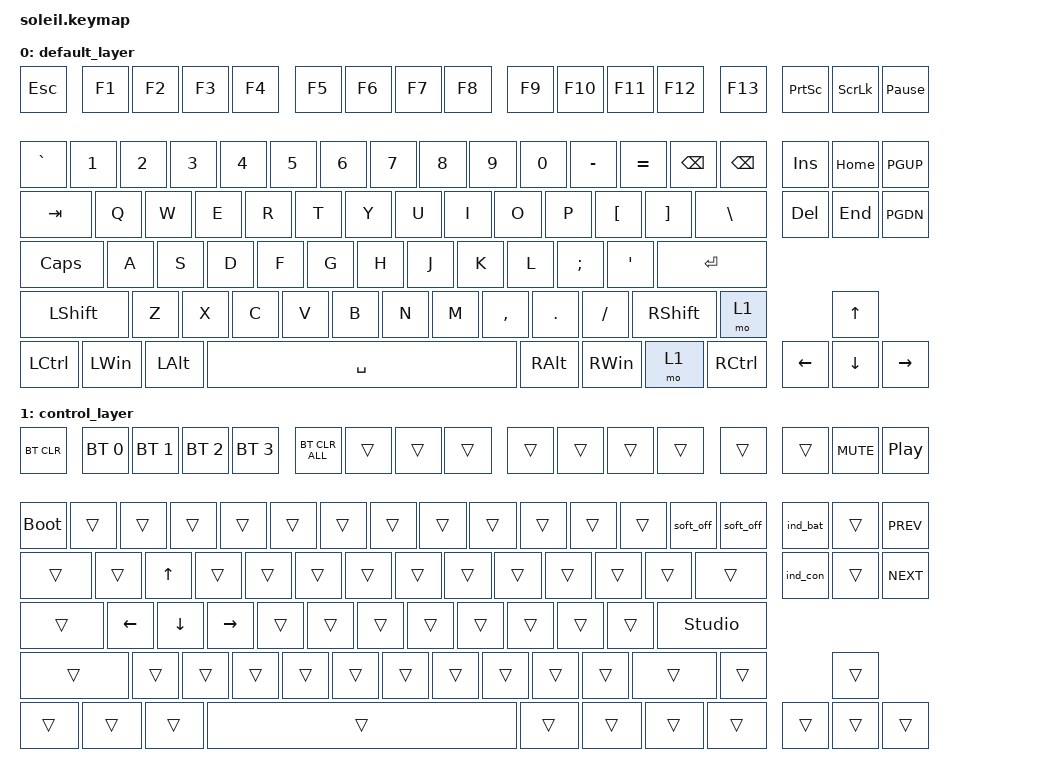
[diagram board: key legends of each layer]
/*
 * Copyright (c) 2022 The ZMK Contributors
 *
 * SPDX-License-Identifier: MIT
 */

#include <behaviors.dtsi>
#include <dt-bindings/zmk/keys.h>
#include <dt-bindings/zmk/bt.h>
#include <behaviors/rgbled_widget.dtsi>
//#include <dt-bindings/zmk/outputs.h>

/ {
	keymap {
		compatible = "zmk,keymap";
		default_layer {
			bindings = <
&kp ESC  &kp F1    &kp F2    &kp F3    &kp F4 &kp F5     &kp F6 &kp F7    &kp F8     &kp F9     &kp F10    &kp F11    &kp F12   &kp F13                   &kp PSCRN       &kp SLCK    &kp PAUSE_BREAK 
&kp GRAVE    &kp N1    &kp N2    &kp N3    &kp N4 &kp N5     &kp N6 &kp N7    &kp N8     &kp N9     &kp N0     &kp MINUS  &kp EQUAL &kp BSPC &kp BSPC     &kp INS         &kp HOME    &kp PGUP
&kp TAB    &kp Q     &kp W     &kp E     &kp R  &kp T      &kp Y  &kp U     &kp I      &kp O      &kp P      &kp LBKT   &kp RBKT  &kp BSLH                &kp DEL         &kp END     &kp PGDN
&kp CAPS   &kp A     &kp S     &kp D     &kp F  &kp G      &kp H  &kp J     &kp K      &kp L      &kp SEMI   &kp SQT              &kp ENTER
&kp LSHFT            &kp Z     &kp X     &kp C  &kp V      &kp B  &kp N     &kp M      &kp COMMA  &kp DOT    &kp SLASH  &kp RSHFT &mo 1                                   &kp UP      
&kp LCTRL  &kp LWIN  &kp LALT                   &kp SPACE                   &kp RALT   &kp RWIN   &mo 1                           &kp RCTRL               &kp LEFT        &kp DOWN    &kp RIGHT
			>;
		};

		control_layer {
			bindings = <
&bt BT_CLR  &bt BT_SEL 0  &bt BT_SEL 1  &bt BT_SEL 2  &bt BT_SEL 3  &bt BT_CLR_ALL  &trans  &trans &trans &trans &trans &trans &trans &trans    &trans    &kp C_MUTE &kp C_PP   
&bootloader  &trans  &trans  &trans  &trans  &trans  &trans  &trans  &trans  &trans  &trans  &trans  &trans  &soft_off &soft_off                &ind_bat  &trans     &kp C_PREV
&trans  &trans  &kp UP  &trans  &trans  &trans  &trans  &trans  &trans  &trans  &trans  &trans  &trans  &trans                                  &ind_con  &trans     &kp C_NEXT
&trans  &kp LEFT  &kp DOWN  &kp RIGHT  &trans  &trans  &trans  &trans  &trans  &trans  &trans  &trans  &studio_unlock
&trans  &trans  &trans  &trans  &trans  &trans  &trans  &trans  &trans  &trans  &trans  &trans  &trans                                                  &trans
&trans  &trans  &trans  &trans  &trans  &trans  &trans  &trans                                                                                  &trans  &trans  &trans
			>;
		};
	};
};
